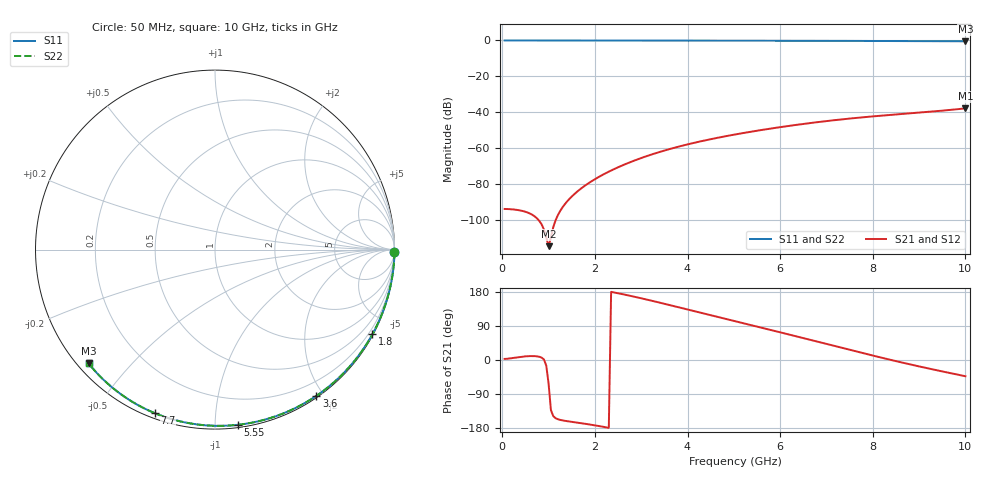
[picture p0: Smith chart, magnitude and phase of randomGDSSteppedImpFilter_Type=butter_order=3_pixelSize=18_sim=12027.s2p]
! freq	dB(S11)	phase(S11)	dB(S12)	phase(S12)
!  dB(S21)	phase(S21)	dB(S22)	phase(S22)
!S-par simulation data
#  GHz  S  DB  R 50
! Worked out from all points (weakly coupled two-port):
!   200 points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, 50 MHz to 10 GHz, reference 50 ohm
!   highest |S21| = -37.87 dB at 10 GHz (marker M1); lowest = -114.7 dB at 1 GHz (marker M2)
!   lowest |S11| = -0.5 dB at 10 GHz (marker M3), VSWR 37.31, Z = 1.54 - j19.2 ohm
!   |S11| at or under -10 dB: nowhere
!   |S22| runs from -0.5 to 0.0 dB; largest |S21 - S12| = 0
!   S11 on the Smith chart (normalised r, x): 50 MHz: open; 1.8 GHz: 0.03, -3.97; 3.6 GHz: 0.02, -1.91; 5.55 GHz: 0.02, -1.14; 7.7 GHz: 0.02, -0.70; 10 GHz: 0.03, -0.38
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0.05  -0.00 -0.8  -93.98 2.9  -93.98 2.9  -0.00 -0.8
0.5  -0.01 -8.0  -95.56 9.6  -95.56 9.6  -0.01 -8.0
1  -0.02 -15.9  -114.74 -62.7  -114.74 -62.7  -0.02 -15.9
1.75  -0.04 -27.5  -81.63 -167.6  -81.63 -167.6  -0.04 -27.5
1.8  -0.04 -28.3  -80.70 -168.5  -80.70 -168.5  -0.04 -28.3
1.85  -0.04 -29.1  -79.82 -169.5  -79.82 -169.5  -0.04 -29.1
2.15  -0.04 -33.7  -75.17 -175.6  -75.17 -175.6  -0.04 -33.7
2.35  -0.05 -36.7  -72.53 179.8  -72.53 179.8  -0.05 -36.7
2.55  -0.05 -39.7  -70.16 174.9  -70.16 174.9  -0.05 -39.7
2.95  -0.06 -45.7  -66.04 164.3  -66.04 164.3  -0.06 -45.7
3.4  -0.07 -52.4  -62.18 151.3  -62.18 151.3  -0.07 -52.4
3.6  -0.07 -55.3  -60.67 145.4  -60.67 145.4  -0.07 -55.3
3.9  -0.08 -59.6  -58.60 136.3  -58.60 136.3  -0.08 -59.6
4.3  -0.09 -65.3  -56.17 124.2  -56.17 124.2  -0.09 -65.3
5.05  -0.12 -75.7  -52.32 101.5  -52.32 101.5  -0.12 -75.7
5.55  -0.14 -82.5  -50.14 86.6  -50.14 86.6  -0.14 -82.5
6.1  -0.16 -89.8  -47.98 70.0  -47.98 70.0  -0.16 -89.8
6.7  -0.19 -97.6  -45.90 51.8  -45.90 51.8  -0.19 -97.5
7.7  -0.25 -110.1  -43.06 20.9  -43.06 20.9  -0.25 -110.1
8.35  -0.31 -118.1  -41.58 1.4  -41.58 1.4  -0.31 -118.1
9.2  -0.39 -128.4  -39.83 -22.3  -39.83 -22.3  -0.39 -128.4
10  -0.47 -138.0  -37.87 -42.9  -37.87 -42.9  -0.47 -138.0
